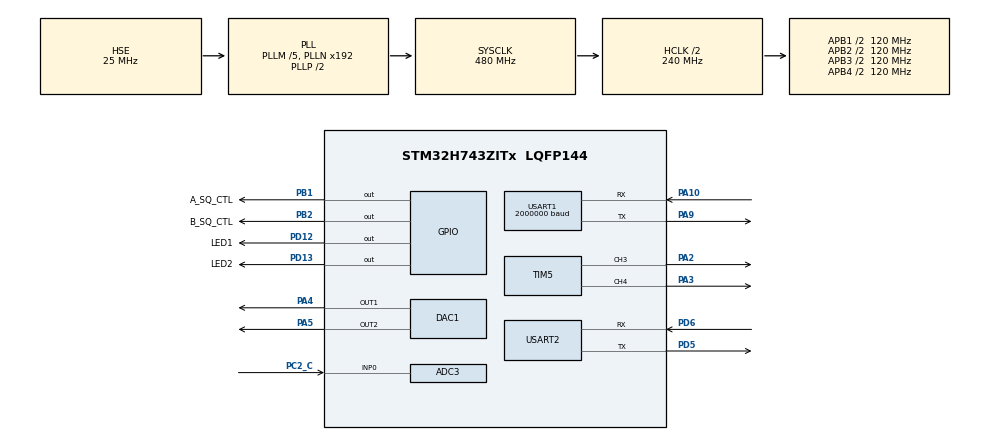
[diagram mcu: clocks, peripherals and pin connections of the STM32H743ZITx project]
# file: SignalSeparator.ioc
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ADC3.Channel-0\#ChannelRegularConversion=ADC_CHANNEL_0
ADC3.ConversionDataManagement=ADC_CONVERSIONDATA_DMA_CIRCULAR
ADC3.ExternalTrigConv=ADC_EXTERNALTRIG_T2_TRGO
ADC3.NbrOfConversionFlag=1
ADC3.OffsetNumber-0\#ChannelRegularConversion=ADC_OFFSET_NONE
ADC3.OffsetSignedSaturation-0\#ChannelRegularConversion=DISABLE
ADC3.Overrun=ADC_OVR_DATA_OVERWRITTEN
ADC3.Rank-0\#ChannelRegularConversion=1
ADC3.Resolution=ADC_RESOLUTION_12B
ADC3.SamplingTime-0\#ChannelRegularConversion=ADC_SAMPLETIME_1CYCLE_5
Bdma.ADC3.0.Direction=DMA_PERIPH_TO_MEMORY
Bdma.ADC3.0.EventEnable=DISABLE
Bdma.ADC3.0.Instance=BDMA_Channel0
Bdma.ADC3.0.MemDataAlignment=DMA_MDATAALIGN_HALFWORD
Bdma.ADC3.0.MemInc=DMA_MINC_ENABLE
Bdma.ADC3.0.Mode=DMA_CIRCULAR
Bdma.ADC3.0.PeriphDataAlignment=DMA_PDATAALIGN_HALFWORD
Bdma.ADC3.0.PeriphInc=DMA_PINC_DISABLE
Bdma.ADC3.0.Polarity=HAL_DMAMUX_REQ_GEN_RISING
Bdma.ADC3.0.Priority=DMA_PRIORITY_VERY_HIGH
Bdma.ADC3.0.RequestNumber=1
Bdma.ADC3.0.SignalID=NONE
Bdma.ADC3.0.SyncEnable=DISABLE
Bdma.ADC3.0.SyncPolarity=HAL_DMAMUX_SYNC_NO_EVENT
Bdma.ADC3.0.SyncRequestNumber=1
Bdma.ADC3.0.SyncSignalID=NONE
Bdma.Request0=ADC3
Bdma.RequestsNb=1
CORTEX_M7.default_mode_Activation=1
DAC1.DAC_Channel-DAC_OUT1=DAC_CHANNEL_1
DAC1.DAC_Channel-DAC_OUT2=DAC_CHANNEL_2
DAC1.DAC_Trigger-DAC_OUT1=DAC_TRIGGER_T6_TRGO
DAC1.DAC_Trigger-DAC_OUT2=DAC_TRIGGER_T6_TRGO
Dma.DAC1_CH1.0.Direction=DMA_MEMORY_TO_PERIPH
Dma.DAC1_CH1.0.EventEnable=DISABLE
Dma.DAC1_CH1.0.FIFOMode=DMA_FIFOMODE_DISABLE
Dma.DAC1_CH1.0.Instance=DMA1_Stream0
Dma.DAC1_CH1.0.MemDataAlignment=DMA_MDATAALIGN_HALFWORD
Dma.DAC1_CH1.0.MemInc=DMA_MINC_ENABLE
Dma.DAC1_CH1.0.Mode=DMA_CIRCULAR
Dma.DAC1_CH1.0.PeriphDataAlignment=DMA_PDATAALIGN_HALFWORD
Dma.DAC1_CH1.0.PeriphInc=DMA_PINC_DISABLE
Dma.DAC1_CH1.0.Polarity=HAL_DMAMUX_REQ_GEN_RISING
Dma.DAC1_CH1.0.Priority=DMA_PRIORITY_HIGH
Dma.DAC1_CH1.0.RequestNumber=1
Dma.DAC1_CH1.0.SignalID=NONE
Dma.DAC1_CH1.0.SyncEnable=DISABLE
Dma.DAC1_CH1.0.SyncPolarity=HAL_DMAMUX_SYNC_NO_EVENT
Dma.DAC1_CH1.0.SyncRequestNumber=1
Dma.DAC1_CH1.0.SyncSignalID=NONE
Dma.DAC1_CH2.1.Direction=DMA_MEMORY_TO_PERIPH
Dma.DAC1_CH2.1.EventEnable=DISABLE
Dma.DAC1_CH2.1.FIFOMode=DMA_FIFOMODE_DISABLE
Dma.DAC1_CH2.1.Instance=DMA1_Stream1
Dma.DAC1_CH2.1.MemDataAlignment=DMA_MDATAALIGN_HALFWORD
Dma.DAC1_CH2.1.MemInc=DMA_MINC_ENABLE
Dma.DAC1_CH2.1.Mode=DMA_CIRCULAR
Dma.DAC1_CH2.1.PeriphDataAlignment=DMA_PDATAALIGN_HALFWORD
Dma.DAC1_CH2.1.PeriphInc=DMA_PINC_DISABLE
Dma.DAC1_CH2.1.Polarity=HAL_DMAMUX_REQ_GEN_RISING
Dma.DAC1_CH2.1.Priority=DMA_PRIORITY_HIGH
Dma.DAC1_CH2.1.RequestNumber=1
Dma.DAC1_CH2.1.SignalID=NONE
Dma.DAC1_CH2.1.SyncEnable=DISABLE
Dma.DAC1_CH2.1.SyncPolarity=HAL_DMAMUX_SYNC_NO_EVENT
Dma.DAC1_CH2.1.SyncRequestNumber=1
Dma.DAC1_CH2.1.SyncSignalID=NONE
Dma.Request0=DAC1_CH1
Dma.Request1=DAC1_CH2
Mcu.Family=STM32H7
Mcu.Name=STM32H743ZITx
Mcu.Package=LQFP144
NVIC.BDMA_Channel0_IRQn=true\:2\:0\:true\:false\:true\:false\:true\:true
NVIC.DMA1_Stream0_IRQn=true\:1\:0\:true\:false\:true\:false\:true\:true
NVIC.DMA1_Stream1_IRQn=true\:1\:0\:true\:false\:true\:false\:true\:true
NVIC.PriorityGroup=NVIC_PRIORITYGROUP_4
NVIC.TIM5_IRQn=true\:0\:0\:false\:false\:true\:true\:true\:true
NVIC.USART1_IRQn=true\:0\:0\:true\:false\:true\:true\:true\:true
NVIC.USART2_IRQn=true\:0\:0\:false\:false\:true\:true\:true\:true
PA10.Mode=Asynchronous
PA10.Signal=USART1_RX
PA13\ (JTMS/SWDIO).Mode=Serial_Wire
PA13\ (JTMS/SWDIO).Signal=DEBUG_JTMS-SWDIO
PA14\ (JTCK/SWCLK).Mode=Serial_Wire
PA14\ (JTCK/SWCLK).Signal=DEBUG_JTCK-SWCLK
PA2.Signal=S_TIM5_CH3
PA3.Signal=S_TIM5_CH4
PA4.Signal=COMP_DAC11_group
PA5.Signal=COMP_DAC12_group
PA9.Mode=Asynchronous
PA9.Signal=USART1_TX
PB1.GPIO_Label=A_SQ_CTL
PB1.GPIO_PuPd=GPIO_PULLDOWN
PB1.Signal=GPIO_Output
PB2.GPIO_Label=B_SQ_CTL
PB2.GPIO_PuPd=GPIO_PULLDOWN
PB2.Signal=GPIO_Output
PC14-OSC32_IN\ (OSC32_IN).Mode=LSE-External-Oscillator
PC14-OSC32_IN\ (OSC32_IN).Signal=RCC_OSC32_IN
PC15-OSC32_OUT\ (OSC32_OUT).Mode=LSE-External-Oscillator
PC15-OSC32_OUT\ (OSC32_OUT).Signal=RCC_OSC32_OUT
PC2_C.Mode=IN0-Single-Ended
PC2_C.Signal=ADC3_INP0
PD12.GPIO_Label=LED1
PD12.Signal=GPIO_Output
PD13.GPIO_Label=LED2
PD13.Signal=GPIO_Output
PD5.Mode=Asynchronous
PD5.Signal=USART2_TX
PD6.Mode=Asynchronous
PD6.Signal=USART2_RX
PH0-OSC_IN\ (PH0).Mode=HSE-External-Oscillator
PH0-OSC_IN\ (PH0).Signal=RCC_OSC_IN
PH1-OSC_OUT\ (PH1).Mode=HSE-External-Oscillator
PH1-OSC_OUT\ (PH1).Signal=RCC_OSC_OUT
ProjectManager.HeapSize=0x200
ProjectManager.StackSize=0x400
ProjectManager.TargetToolchain=CMake
RCC.ADCCLockSelection=RCC_ADCCLKSOURCE_CLKP
RCC.ADCFreq_Value=64000000
RCC.APB1Freq_Value=120000000
RCC.APB2Freq_Value=120000000
RCC.APB3Freq_Value=120000000
RCC.APB4Freq_Value=120000000
RCC.CortexFreq_Value=480000000
RCC.D1PPRE=RCC_APB3_DIV2
RCC.D2PPRE1=RCC_APB1_DIV2
RCC.D2PPRE2=RCC_APB2_DIV2
RCC.D3PPRE=RCC_APB4_DIV2
RCC.DIVM1=5
RCC.DIVM2=5
RCC.DIVN1=192
RCC.DIVN2=112
RCC.DIVP2=20
RCC.HCLKFreq_Value=240000000
RCC.HPRE=RCC_HCLK_DIV2
RCC.PLL2FRACN=0
RCC.PLL3FRACN=0
RCC.PLLFRACN=0
RCC.PLLSourceVirtual=RCC_PLLSOURCE_HSE
RCC.SYSCLKFreq_VALUE=480000000
RCC.SYSCLKSource=RCC_SYSCLKSOURCE_PLLCLK
RCC.USBFreq_Value=480000000
SH.COMP_DAC11_group.0=DAC1_OUT1,DAC_OUT1
SH.COMP_DAC12_group.0=DAC1_OUT2,DAC_OUT2
SH.S_TIM5_CH3.0=TIM5_CH3,Output Compare3 CH3
SH.S_TIM5_CH4.0=TIM5_CH4,Output Compare4 CH4
TIM2.Period=74
TIM2.TIM_MasterOutputTrigger=TIM_TRGO_UPDATE
TIM5.Channel-Output\ Compare3\ CH3=TIM_CHANNEL_3
TIM5.Channel-Output\ Compare4\ CH4=TIM_CHANNEL_4
TIM5.OCMode_3=TIM_OCMODE_TOGGLE
TIM5.OCMode_4=TIM_OCMODE_TOGGLE
TIM6.Period=59
TIM6.TIM_MasterOutputTrigger=TIM_TRGO_UPDATE
USART1.BaudRate=2000000
USART1.VirtualMode-Asynchronous=VM_ASYNC
USART2.VirtualMode-Asynchronous=VM_ASYNC
VP_MEMORYMAP_VS_MEMORYMAP.Mode=CurAppReg
VP_TIM2_VS_ClockSourceINT.Mode=Internal
VP_TIM5_VS_ClockSourceINT.Mode=Internal
VP_TIM6_VS_ClockSourceINT.Mode=Enable_Timer
board=custom

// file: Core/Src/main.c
/* USER CODE BEGIN Header */
/**
  ******************************************************************************
  * @file           : main.c
  * @brief          : Main program body
  ******************************************************************************
  * @attention
  *
  * Copyright (c) 2026 STMicroelectronics.
  * All rights reserved.
  *
  * This software is licensed under terms that can be found in the LICENSE file
  * in the root directory of this software component.
  * If no LICENSE file comes with this software, it is provided AS-IS.
  *
  ******************************************************************************
  */
/* USER CODE END Header */
#include "main.h"
#include "adc.h"
#include "bdma.h"
#include "dac.h"
#include "dma.h"
#include "tim.h"
#include "usart.h"
#include "gpio.h"

/* USER CODE BEGIN Includes */
#include "adc_capture.h"
#include "dac_nco.h"
#include "iq_phase_monitor.h"
#include "signal_fft.h"
#include "serial_command.h"
#include "signal_zoom_fft.h"

#include <math.h>
#include <stdio.h>
#include <string.h>

/* USER CODE END Includes */

/* USER CODE BEGIN PTD */
typedef enum {
    SIGNAL_ANALYSIS_WAIT_COARSE = 0,
    SIGNAL_ANALYSIS_WAIT_ZOOM,
    SIGNAL_ANALYSIS_COMPLETE,
    SIGNAL_ANALYSIS_ERROR
} SignalAnalysisState;

/* USER CODE END PTD */

/* USER CODE BEGIN PV */
static SignalAnalysisState signalAnalysisState = SIGNAL_ANALYSIS_WAIT_COARSE;
static SignalFftResult coarseFftResult;
static bool coarseModelFallbackAvailable;

/* USER CODE END PV */

void SystemClock_Config(void);
void PeriphCommonClock_Config(void);
static void MPU_Config(void);
/* USER CODE BEGIN PFP */
static bool StartDacWaveforms(const SignalFftSeparatedSignal* signalA, const SignalFftSeparatedSignal* signalB);
static void ProcessCoarseFFT(void);
static void ProcessZoomFFT(void);
static void PrintCoarseFFTResult(const SignalFftResult* result);
static void PrintZoomFFTResult(const SignalZoomFftResult* result);
static bool FindUnresolvedFundamentalCluster(const SignalFftResult* result, float32_t* centerFrequencyHz);
static uint32_t RoundFloatToUInt32(float32_t value);
static int32_t RoundFloatToInt32(float32_t value);

/* USER CODE END PFP */

/* USER CODE BEGIN 0 */
static bool StartDacWaveforms(const SignalFftSeparatedSignal* signalA, const SignalFftSeparatedSignal* signalB) {
    if (!DacNco_Start(signalA, signalB)) {
        return false;
    }

    IqPhaseMonitor_Start(signalA->frequencyHz, signalB->frequencyHz, coarseFftResult.meanCode);
    return true;
}

/* USER CODE END 0 */

int main(void) {

    /* MPU Configuration--------------------------------------------------------*/
    MPU_Config();

    /* MCU Configuration--------------------------------------------------------*/

    /* Reset of all peripherals, Initializes the Flash interface and the Systick. */
    HAL_Init();

    /* Configure the system clock */
    SystemClock_Config();

    /* Configure the peripherals common clocks */
    PeriphCommonClock_Config();

    /* Initialize all configured peripherals */
    MX_GPIO_Init();
    MX_BDMA_Init();
    MX_DMA_Init();
    MX_USART1_UART_Init();
    MX_USART2_UART_Init();
    MX_ADC3_Init();
    MX_TIM2_Init();
    MX_DAC1_Init();
    MX_TIM6_Init();
    MX_TIM5_Init();
    /* USER CODE BEGIN 2 */
    setvbuf(stdout, NULL, _IONBF, 0);

    if (SerialCommand_Init() != HAL_OK) {
        printf("ERROR: serial command reception start failed.\r\n");
        Error_Handler();
    }

    printf("\r\n");
    printf("========================================\r\n");
    printf("Signal separator Zoom FFT and harmonic model test\r\n");
    printf("Coarse FFT: %lu points at %lu samples/s\r\n", (unsigned long)SIGNAL_FFT_SIZE, (unsigned long)ADC_CAPTURE_SAMPLE_RATE_HZ);
    printf("Peak search: %lu to %lu Hz\r\n", (unsigned long)SIGNAL_FFT_MIN_FREQUENCY_HZ, (unsigned long)SIGNAL_FFT_PEAK_SEARCH_MAX_FREQUENCY_HZ);
    printf("Models: sine/triangle/square, complex harmonic overlap\r\n");
    printf("Zoom FFT: %lu complex points, decimation=%lu\r\n", (unsigned long)SIGNAL_ZOOM_FFT_SIZE, (unsigned long)SIGNAL_ZOOM_FFT_DECIMATION_FACTOR);
    printf("DAC: dual streaming NCO at %lu samples/s, no 5 kHz quantization\r\n", (unsigned long)DAC_NCO_SAMPLE_RATE_HZ);
    printf("PLL: channel A and B IQ PI tracking enabled with shared recovery logic\r\n");
    printf("Commands: RESET, SET PHASE 0|5|10|...|180\r\n");
    printf("========================================\r\n");

    if (SignalFFT_Init() != ARM_MATH_SUCCESS) {
        printf("ERROR: coarse CMSIS-DSP FFT initialization " "failed.\r\n");
        Error_Handler();
    }

    if (SignalZoomFFT_Init() != ARM_MATH_SUCCESS) {
        printf("ERROR: CMSIS-DSP Zoom FFT initialization failed.\r\n");
        Error_Handler();
    }

    if (ADC_Capture_Start() != HAL_OK) {
        printf("ERROR: ADC capture start failed.\r\n");
        Error_Handler();
    }

    ADC_Capture_RequestSnapshot();

    printf("ADC3 sampling started.\r\n");
    printf("One coarse 4096-sample FFT requested.\r\n");

    /* USER CODE END 2 */

    /* Infinite loop */
    /* USER CODE BEGIN WHILE */
    while (1) {
        SerialCommand_Process();
        ADC_Capture_Process();
        DacNco_ProcessDiagnostics();
        IqPhaseMonitor_Process();

        switch (signalAnalysisState) {
            case SIGNAL_ANALYSIS_WAIT_COARSE:
                ProcessCoarseFFT();
                break;

            case SIGNAL_ANALYSIS_WAIT_ZOOM:
                ProcessZoomFFT();
                break;

            case SIGNAL_ANALYSIS_COMPLETE:
            case SIGNAL_ANALYSIS_ERROR: default:
                break;
        }

        /* USER CODE END WHILE */

    }
}

void SystemClock_Config(void) {
    RCC_OscInitTypeDef RCC_OscInitStruct = {0};
    RCC_ClkInitTypeDef RCC_ClkInitStruct = {0};

    /** Supply configuration update enable
    */
    HAL_PWREx_ConfigSupply(PWR_LDO_SUPPLY);

    /** Configure the main internal regulator output voltage
    */
    __HAL_PWR_VOLTAGESCALING_CONFIG(PWR_REGULATOR_VOLTAGE_SCALE0);

    while (!__HAL_PWR_GET_FLAG(PWR_FLAG_VOSRDY)) {}

    /** Initializes the RCC Oscillators according to the specified parameters
    * in the RCC_OscInitTypeDef structure.
    */
    RCC_OscInitStruct.OscillatorType = RCC_OSCILLATORTYPE_HSI | RCC_OSCILLATORTYPE_HSE;
    RCC_OscInitStruct.HSEState = RCC_HSE_ON;
    RCC_OscInitStruct.HSIState = RCC_HSI_DIV1;
    RCC_OscInitStruct.HSICalibrationValue = RCC_HSICALIBRATION_DEFAULT;
    RCC_OscInitStruct.PLL.PLLState = RCC_PLL_ON;
    RCC_OscInitStruct.PLL.PLLSource = RCC_PLLSOURCE_HSE;
    RCC_OscInitStruct.PLL.PLLM = 5;
    RCC_OscInitStruct.PLL.PLLN = 192;
    RCC_OscInitStruct.PLL.PLLP = 2;
    RCC_OscInitStruct.PLL.PLLQ = 2;
    RCC_OscInitStruct.PLL.PLLR = 2;
    RCC_OscInitStruct.PLL.PLLRGE = RCC_PLL1VCIRANGE_2;
    RCC_OscInitStruct.PLL.PLLVCOSEL = RCC_PLL1VCOWIDE;
    RCC_OscInitStruct.PLL.PLLFRACN = 0;
    if (HAL_RCC_OscConfig(&RCC_OscInitStruct) != HAL_OK) {
        Error_Handler();
    }

    /** Initializes the CPU, AHB and APB buses clocks
    */
    RCC_ClkInitStruct.ClockType = RCC_CLOCKTYPE_HCLK | RCC_CLOCKTYPE_SYSCLK | RCC_CLOCKTYPE_PCLK1 | RCC_CLOCKTYPE_PCLK2 | RCC_CLOCKTYPE_D3PCLK1 |
        RCC_CLOCKTYPE_D1PCLK1;
    RCC_ClkInitStruct.SYSCLKSource = RCC_SYSCLKSOURCE_PLLCLK;
    RCC_ClkInitStruct.SYSCLKDivider = RCC_SYSCLK_DIV1;
    RCC_ClkInitStruct.AHBCLKDivider = RCC_HCLK_DIV2;
    RCC_ClkInitStruct.APB3CLKDivider = RCC_APB3_DIV2;
    RCC_ClkInitStruct.APB1CLKDivider = RCC_APB1_DIV2;
    RCC_ClkInitStruct.APB2CLKDivider = RCC_APB2_DIV2;
    RCC_ClkInitStruct.APB4CLKDivider = RCC_APB4_DIV2;

    if (HAL_RCC_ClockConfig(&RCC_ClkInitStruct, FLASH_LATENCY_4) != HAL_OK) {
        Error_Handler();
    }
}

void PeriphCommonClock_Config(void) {
    RCC_PeriphCLKInitTypeDef PeriphClkInitStruct = {0};

    /** Initializes the peripherals clock
    */
    PeriphClkInitStruct.PeriphClockSelection = RCC_PERIPHCLK_CKPER;
    PeriphClkInitStruct.CkperClockSelection = RCC_CLKPSOURCE_HSI;
    if (HAL_RCCEx_PeriphCLKConfig(&PeriphClkInitStruct) != HAL_OK) {
        Error_Handler();
    }
}

/* USER CODE BEGIN 4 */
void HAL_UART_RxCpltCallback(UART_HandleTypeDef* huart) {
    SerialCommand_RxCpltCallback(huart);
}

void HAL_UART_ErrorCallback(UART_HandleTypeDef* huart) {
    SerialCommand_ErrorCallback(huart);
}

static void ProcessCoarseFFT(void) {
    if (ADC_Capture_IsSnapshotReady() == 0U) {
        return;
    }

    bool success = SignalFFT_Analyze(ADC_Capture_GetSnapshot(), ADC_CAPTURE_BUFFER_SIZE, ADC_CAPTURE_SAMPLE_RATE_HZ, &coarseFftResult);

    PrintCoarseFFTResult(&coarseFftResult);
    ADC_Capture_ReleaseSnapshot();

    float32_t zoomCenterFrequencyHz = 0.0f;
    bool unresolvedCluster = FindUnresolvedFundamentalCluster(&coarseFftResult, &zoomCenterFrequencyHz);

    /*
     * A valid coarse model can still be ambiguous. For example, the third
     * harmonic of a triangle or square wave may be fitted as an independent
     * sine while
     * two close fundamentals remain inside one coarse FFT main lobe. Resolve
     * that low-frequency cluster with Zoom FFT before accepting the coarse
     * model. Keep the coarse result as a fallback for a genuine fundamental
     * plus an unrelated sine near an odd-harmonic frequency.
     */
    if (success && !unresolvedCluster) {
        printf("Decision: complex harmonic model accepted directly from coarse FFT.\r\n");
        printf("Final signals: A=%lu Hz %s, B=%lu Hz %s\r\n", (unsigned long)RoundFloatToUInt32(coarseFftResult.signalA.frequencyHz),
               SignalFFT_GetWaveformName(coarseFftResult.signalA.waveform), (unsigned long)RoundFloatToUInt32(coarseFftResult.signalB.frequencyHz),
               SignalFFT_GetWaveformName(coarseFftResult.signalB.waveform));
        signalAnalysisState = StartDacWaveforms(&coarseFftResult.signalA, &coarseFftResult.signalB) ? SIGNAL_ANALYSIS_COMPLETE : SIGNAL_ANALYSIS_ERROR;
        return;
    }

    coarseModelFallbackAvailable = success;

    if (coarseFftResult.significantPeakCount == 0U) {
        printf("Coarse FFT failed: no significant signal cluster was found.\r\n");
        signalAnalysisState = SIGNAL_ANALYSIS_ERROR;
        return;
    }

    if (!unresolvedCluster) {
        printf("Model selection failed for already separated coarse peaks.\r\n");
        signalAnalysisState = SIGNAL_ANALYSIS_ERROR;
        return;
    }

    arm_status status = SignalZoomFFT_Start(zoomCenterFrequencyHz, coarseFftResult.meanCode, ADC_CAPTURE_SAMPLE_RATE_HZ);
    if (status != ARM_MATH_SUCCESS) {
        printf("ERROR: Zoom FFT acquisition initialization failed, status=%ld.\r\n", (long)status);
        signalAnalysisState = SIGNAL_ANALYSIS_ERROR;
        return;
    }

    printf("Decision: one unresolved coarse cluster; starting DDC and Zoom FFT around %lu Hz.\r\n", (unsigned long)RoundFloatToUInt32(zoomCenterFrequencyHz));
    ADC_Capture_SetStreamCallback(SignalZoomFFT_PushSamples);
    signalAnalysisState = SIGNAL_ANALYSIS_WAIT_ZOOM;
}

static bool FindUnresolvedFundamentalCluster(const SignalFftResult* result, float32_t* centerFrequencyHz) {
    if (result == NULL || centerFrequencyHz == NULL || result->significantPeakCount == 0U) {
        return false;
    }

    if (result->valid && result->signalA.valid && result->signalB.valid && fabsf(result->signalB.frequencyHz - result->signalA.frequencyHz) <= 4.0f * result->
        binResolutionHz) {
        *centerFrequencyHz = 0.5f * (result->signalA.frequencyHz + result->signalB.frequencyHz);
        return true;
    }

    const SignalFftPeak* fundamentalCluster = NULL;

    for (uint32_t index = 0U; index < result->significantPeakCount; index++) {
        const SignalFftPeak* peak = &result->significantPeaks[index];
        if (peak->frequencyHz >= (float32_t)SIGNAL_FFT_MIN_FREQUENCY_HZ && peak->frequencyHz <= (float32_t)SIGNAL_FFT_MAX_FREQUENCY_HZ) {
            fundamentalCluster = peak;
            break;
        }
    }

    if (fundamentalCluster == NULL) {
        return false;
    }

    /*
     * A close pair produces one coarse fundamental cluster. A non-sinusoidal
     * harmonic must not be mistaken for a second already-resolved
     * fundamental. Four coarse bins cover the frequency bias caused by two
     * unresolved fundamentals sharing the same Hann-window main lobe.
     */
    float32_t harmonicToleranceHz = 5.0f * result->binResolutionHz;

    for (uint32_t index = 0U; index < result->significantPeakCount; index++) {
        const SignalFftPeak* peak = &result->significantPeaks[index];
        if (peak == fundamentalCluster) {
            continue;
        }

        bool explainedByOddHarmonic = false;
        for (uint32_t harmonic = 3U; harmonic <= 15U; harmonic += 2U) {
            float32_t expectedFrequencyHz = fundamentalCluster->frequencyHz * (float32_t)harmonic;
            if (expectedFrequencyHz > (float32_t)SIGNAL_FFT_PEAK_SEARCH_MAX_FREQUENCY_HZ + harmonicToleranceHz) {
                break;
            }

            if (fabsf(peak->frequencyHz - expectedFrequencyHz) <= harmonicToleranceHz) {
                explainedByOddHarmonic = true;
                break;
            }
        }

        if (!explainedByOddHarmonic) {
            return false;
        }
    }

    *centerFrequencyHz = fundamentalCluster->frequencyHz;
    return true;
}

static void ProcessZoomFFT(void) {
    if (!SignalZoomFFT_IsCaptureComplete()) {
        return;
    }

    ADC_Capture_ClearStreamCallback();

    SignalZoomFftResult zoomResult;
    bool zoomSuccess = SignalZoomFFT_Analyze(&zoomResult);
    PrintZoomFFTResult(&zoomResult);

    if (!zoomSuccess || zoomResult.pattern != SIGNAL_ZOOM_FFT_PATTERN_TWO_SEPARATED) {
        if (coarseModelFallbackAvailable) {
            printf("Zoom FFT found no close pair; accepting the saved coarse model.\r\n");
            printf("Final signals: A=%lu Hz %s, B=%lu Hz %s\r\n", (unsigned long)RoundFloatToUInt32(coarseFftResult.signalA.frequencyHz),
                   SignalFFT_GetWaveformName(coarseFftResult.signalA.waveform), (unsigned long)RoundFloatToUInt32(coarseFftResult.signalB.frequencyHz),
                   SignalFFT_GetWaveformName(coarseFftResult.signalB.waveform));
            signalAnalysisState = StartDacWaveforms(&coarseFftResult.signalA, &coarseFftResult.signalB) ? SIGNAL_ANALYSIS_COMPLETE : SIGNAL_ANALYSIS_ERROR;
            return;
        }
        printf("Zoom FFT failed to resolve two valid fundamentals.\r\n");
        signalAnalysisState = SIGNAL_ANALYSIS_ERROR;
        return;
    }

    uint32_t frequencyAHz = RoundFloatToUInt32(zoomResult.signalA.frequencyHz);
    uint32_t frequencyBHz = RoundFloatToUInt32(zoomResult.signalB.frequencyHz);

    if (frequencyAHz < SIGNAL_FFT_MIN_FREQUENCY_HZ) {
        frequencyAHz = SIGNAL_FFT_MIN_FREQUENCY_HZ;
    }
    if (frequencyAHz > SIGNAL_FFT_MAX_FREQUENCY_HZ) {
        frequencyAHz = SIGNAL_FFT_MAX_FREQUENCY_HZ;
    }
    if (frequencyBHz < SIGNAL_FFT_MIN_FREQUENCY_HZ) {
        frequencyBHz = SIGNAL_FFT_MIN_FREQUENCY_HZ;
    }
    if (frequencyBHz > SIGNAL_FFT_MAX_FREQUENCY_HZ) {
        frequencyBHz = SIGNAL_FFT_MAX_FREQUENCY_HZ;
    }

    bool modelSuccess = SignalFFT_FitResolvedFundamentals(frequencyAHz, frequencyBHz, &coarseFftResult);

    printf("\r\n[HARMONIC_MODEL_RESULT]\r\n");
    if (coarseFftResult.signalA.valid && coarseFftResult.signalB.valid) {
        printf("A: frequency=%lu Hz, waveform=%s, amplitude=%lu codes peak, phase=%lu deg\r\n",
               (unsigned long)RoundFloatToUInt32(coarseFftResult.signalA.frequencyHz), SignalFFT_GetWaveformName(coarseFftResult.signalA.waveform),
               (unsigned long)RoundFloatToUInt32(coarseFftResult.signalA.amplitudePeakCode),
               (unsigned long)RoundFloatToUInt32(coarseFftResult.signalA.phaseDegrees));
        printf("B: frequency=%lu Hz, waveform=%s, amplitude=%lu codes peak, phase=%lu deg\r\n",
               (unsigned long)RoundFloatToUInt32(coarseFftResult.signalB.frequencyHz), SignalFFT_GetWaveformName(coarseFftResult.signalB.waveform),
               (unsigned long)RoundFloatToUInt32(coarseFftResult.signalB.amplitudePeakCode),
               (unsigned long)RoundFloatToUInt32(coarseFftResult.signalB.phaseDegrees));
        printf("Model residual: %lu permille (%s)\r\n", (unsigned long)RoundFloatToUInt32(coarseFftResult.residualRatio * 1000.0f),
               modelSuccess ? "accepted" : "rejected");
    }
    printf("[HARMONIC_MODEL_RESULT_END]\r\n");

    if (!modelSuccess) {
        printf("Harmonic model rejected the two Zoom FFT fundamentals.\r\n");
        signalAnalysisState = SIGNAL_ANALYSIS_ERROR;
        return;
    }

    printf("Decision: Zoom FFT resolved the close fundamentals and the harmonic model was accepted.\r\n");
    printf("Final signals: A=%lu Hz %s, B=%lu Hz %s\r\n", (unsigned long)frequencyAHz, SignalFFT_GetWaveformName(coarseFftResult.signalA.waveform),
           (unsigned long)frequencyBHz, SignalFFT_GetWaveformName(coarseFftResult.signalB.waveform));
    signalAnalysisState = StartDacWaveforms(&coarseFftResult.signalA, &coarseFftResult.signalB) ? SIGNAL_ANALYSIS_COMPLETE : SIGNAL_ANALYSIS_ERROR;
}

static void PrintCoarseFFTResult(const SignalFftResult* result) {
    printf("\r\n[FFT_RESULT]\r\n");
    printf("Mean: %lu codes\r\n", (unsigned long)RoundFloatToUInt32(result->meanCode));
    printf("Resolution: %lu Hz/bin\r\n", (unsigned long)RoundFloatToUInt32(result->binResolutionHz));
    printf("Significant peaks: %lu, fundamental candidates: %lu\r\n", (unsigned long)result->significantPeakCount,
           (unsigned long)result->fundamentalCandidateCount);

    for (uint32_t index = 0U; index < result->significantPeakCount; index++) {
        const SignalFftPeak* peak = &result->significantPeaks[index];
        printf("Peak %lu: raw=%lu Hz, bin=%lu, amplitude=%lu codes Vpp\r\n", (unsigned long)(index + 1U), (unsigned long)RoundFloatToUInt32(peak->frequencyHz),
               (unsigned long)peak->peakBin, (unsigned long)RoundFloatToUInt32(peak->amplitudePeakToPeakCode));
    }

    if (result->signalA.valid && result->signalB.valid) {
        printf("A: frequency=%lu Hz, waveform=%s, amplitude=%lu codes peak, phase=%lu deg\r\n", (unsigned long)RoundFloatToUInt32(result->signalA.frequencyHz),
               SignalFFT_GetWaveformName(result->signalA.waveform), (unsigned long)RoundFloatToUInt32(result->signalA.amplitudePeakCode),
               (unsigned long)RoundFloatToUInt32(result->signalA.phaseDegrees));
        printf("B: frequency=%lu Hz, waveform=%s, amplitude=%lu codes peak, phase=%lu deg\r\n", (unsigned long)RoundFloatToUInt32(result->signalB.frequencyHz),
               SignalFFT_GetWaveformName(result->signalB.waveform), (unsigned long)RoundFloatToUInt32(result->signalB.amplitudePeakCode),
               (unsigned long)RoundFloatToUInt32(result->signalB.phaseDegrees));
        printf("Model residual: %lu permille (%s)\r\n", (unsigned long)RoundFloatToUInt32(result->residualRatio * 1000.0f),
               result->valid ? "accepted" : "rejected");
    }

    printf("FFT time: %lu us, total analysis: %lu us\r\n", (unsigned long)RoundFloatToUInt32(result->fftTimeUs),
           (unsigned long)RoundFloatToUInt32(result->totalTimeUs));
    printf("[FFT_RESULT_END]\r\n");
}

static void PrintZoomFFTResult(const SignalZoomFftResult* result) {
    printf("\r\n[ZOOM_FFT_RESULT]\r\n");
    printf("Center: %lu Hz\r\n", (unsigned long)RoundFloatToUInt32(result->centerFrequencyHz));
    printf("Rates: input=%lu samples/s, baseband=%lu samples/s\r\n", (unsigned long)result->inputSampleRateHz, (unsigned long)result->outputSampleRateHz);
    printf("Resolution: %lu Hz/bin\r\n", (unsigned long)RoundFloatToUInt32(result->binResolutionHz));
    printf("Capture: %lu raw samples, %lu us\r\n", (unsigned long)result->rawSampleCount, (unsigned long)RoundFloatToUInt32(result->captureTimeUs));

    if (!result->valid) {
        printf("Pattern: none\r\n");
    }
    else if (result->pattern == SIGNAL_ZOOM_FFT_PATTERN_TWO_SEPARATED) {
        printf("Pattern: two separated peaks\r\n");
        printf("A: raw=%lu Hz, baseband=%ld Hz, bin=%ld, amplitude=%lu codes Vpp\r\n", (unsigned long)RoundFloatToUInt32(result->signalA.frequencyHz),
               (long)RoundFloatToInt32(result->signalA.basebandFrequencyHz), (long)result->signalA.peakBin,
               (unsigned long)RoundFloatToUInt32(result->signalA.amplitudePeakToPeakCode));
        printf("B: raw=%lu Hz, baseband=%ld Hz, bin=%ld, amplitude=%lu codes Vpp\r\n", (unsigned long)RoundFloatToUInt32(result->signalB.frequencyHz),
               (long)RoundFloatToInt32(result->signalB.basebandFrequencyHz), (long)result->signalB.peakBin,
               (unsigned long)RoundFloatToUInt32(result->signalB.amplitudePeakToPeakCode));
    }
    else {
        printf("Pattern: single unresolved cluster\r\n");
        printf("Cluster: raw=%lu Hz, baseband=%ld Hz, bin=%ld, amplitude=%lu codes Vpp\r\n",
               (unsigned long)RoundFloatToUInt32(result->dominantPeak.frequencyHz), (long)RoundFloatToInt32(result->dominantPeak.basebandFrequencyHz),
               (long)result->dominantPeak.peakBin, (unsigned long)RoundFloatToUInt32(result->dominantPeak.amplitudePeakToPeakCode));
    }

    printf("DDC CPU time: %lu us\r\n", (unsigned long)RoundFloatToUInt32(result->ddcTimeUs));
    printf("DDC callback max: %lu us, overruns=%lu\r\n", (unsigned long)RoundFloatToUInt32(result->maximumDdcCallbackTimeUs),
           (unsigned long)result->ddcOverrunCount);
    printf("Zoom FFT time: %lu us, analysis: %lu us\r\n", (unsigned long)RoundFloatToUInt32(result->fftTimeUs),
           (unsigned long)RoundFloatToUInt32(result->analysisTimeUs));
    printf("[ZOOM_FFT_RESULT_END]\r\n");
}

static uint32_t RoundFloatToUInt32(float32_t value) {
    if (value <= 0.0f) {
        return 0U;
    }

    return (uint32_t)(value + 0.5f);
}

static int32_t RoundFloatToInt32(float32_t value) {
    if (value >= 0.0f) {
        return (int32_t)(value + 0.5f);
    }

    return (int32_t)(value - 0.5f);
}

/**
  * @brief  Redirects printf output to USART1.
  * @param  ch Character to transmit.
  * @retval Transmitted character, or EOF on failure.
  */
int __io_putchar(int ch) {
    uint8_t data = (uint8_t)ch;

    if (HAL_UART_Transmit(&huart1, &data, 1U, HAL_MAX_DELAY) != HAL_OK) {
        return EOF;
    }

    return ch;
}

/* USER CODE END 4 */

/* MPU Configuration */

void MPU_Config(void) {
    MPU_Region_InitTypeDef MPU_InitStruct = {0};

    /* Disables the MPU */
    HAL_MPU_Disable();

    /** Initializes and configures the Region and the memory to be protected
    */
    MPU_InitStruct.Enable = MPU_REGION_ENABLE;
    MPU_InitStruct.Number = MPU_REGION_NUMBER0;
    MPU_InitStruct.BaseAddress = 0x0;
    MPU_InitStruct.Size = MPU_REGION_SIZE_4GB;
    MPU_InitStruct.SubRegionDisable = 0x87;
    MPU_InitStruct.TypeExtField = MPU_TEX_LEVEL0;
    MPU_InitStruct.AccessPermission = MPU_REGION_NO_ACCESS;
    MPU_InitStruct.DisableExec = MPU_INSTRUCTION_ACCESS_DISABLE;
    MPU_InitStruct.IsShareable = MPU_ACCESS_SHAREABLE;
    MPU_InitStruct.IsCacheable = MPU_ACCESS_NOT_CACHEABLE;
    MPU_InitStruct.IsBufferable = MPU_ACCESS_NOT_BUFFERABLE;

    HAL_MPU_ConfigRegion(&MPU_InitStruct);
    /* Enables the MPU */
    HAL_MPU_Enable(MPU_PRIVILEGED_DEFAULT);
}

void Error_Handler(void) {
    /* USER CODE BEGIN Error_Handler_Debug */
    ADC_Capture_ClearStreamCallback();
    __disable_irq();

    while (1) {}
    /* USER CODE END Error_Handler_Debug */
}
